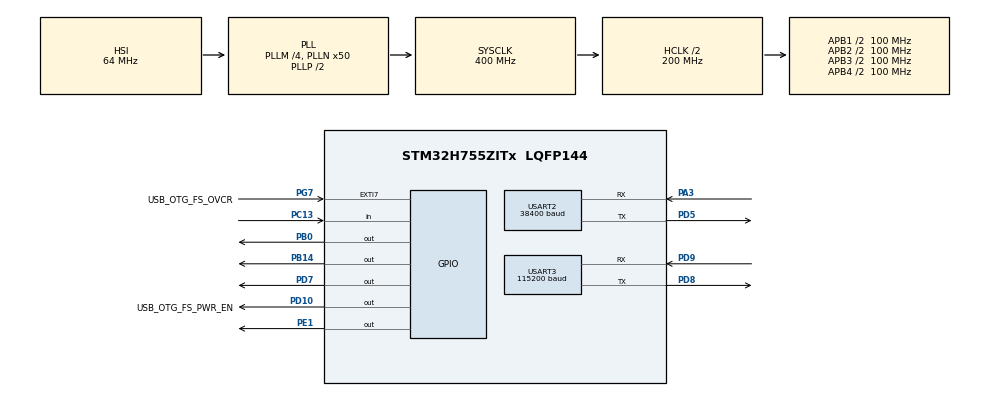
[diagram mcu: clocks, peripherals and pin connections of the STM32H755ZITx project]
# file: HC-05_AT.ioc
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CortexM4.IPs=FATFS_M4\:I,FREERTOS_M4\:I,IWDG2\:I,RCC,WWDG2\:I,DMA,BDMA,MDMA,NVIC2\:I,ETH,USART3,DEBUG,PDM2PCM_M4\:I,PWR,RESMGR_UTILITY,SYS_M4\:I,USB_DEVICE_M4\:I,USB_HOST_M4\:I,CORTEX_M4\:I,GPIO,OPENAMP_M4\:I,VREFBUF,NUCLEO-H755ZI-Q
CortexM7.IPs=FATFS_M7\:I,FREERTOS_M7\:I,IWDG1\:I,RCC\:I,WWDG1\:I,DMA\:I,BDMA\:I,MDMA\:I,NVIC1\:I,ETH\:I,USART3\:I,USB_OTG_FS\:I,SYS\:I,CORTEX_M7\:I,DEBUG\:I,PDM2PCM_M7\:I,PWR\:I,RESMGR_UTILITY\:I,USB_DEVICE_M7\:I,USB_HOST_M7\:I,GPIO\:I,OPENAMP_M7\:I,VREFBUF\:I,NUCLEO-H755ZI-Q\:I,MEMORYMAP\:I,USART2\:I
CortexM7.Pins=PB0,PD7
Mcu.Family=STM32H7
Mcu.Name=STM32H755ZITx
Mcu.Package=LQFP144
NVIC1.PriorityGroup=NVIC_PRIORITYGROUP_4
NVIC1.USART2_IRQn=true\:0\:0\:false\:false\:true\:true\:true\:true
NVIC1.USART3_IRQn=true\:0\:0\:false\:false\:true\:true\:true\:true
NVIC2.PriorityGroup=NVIC_PRIORITYGROUP_4
PA1.PinAttribute=CortexM7
PA1.Signal=ETH_REF_CLK
PA11.PinAttribute=CortexM7
PA11.Signal=USB_OTG_FS_DM
PA12.PinAttribute=CortexM7
PA12.Signal=USB_OTG_FS_DP
PA2.PinAttribute=CortexM7
PA2.Signal=ETH_MDIO
PA3.Mode=Asynchronous
PA3.PinAttribute=CortexM7
PA3.Signal=USART2_RX
PA7.PinAttribute=CortexM7
PA7.Signal=ETH_CRS_DV
PA8.PinAttribute=CortexM7
PA8.Signal=USB_OTG_FS_SOF
PA9.PinAttribute=CortexM7
PA9.Signal=USB_OTG_FS_VBUS
PB0.PinAttribute=CortexM7
PB0.Signal=GPIO_Output
PB13.PinAttribute=CortexM7
PB13.Signal=ETH_TXD1
PB14.PinAttribute=Free
PB14.Signal=GPIO_Output
PC1.PinAttribute=CortexM7
PC1.Signal=ETH_MDC
PC13.PinAttribute=Free
PC13.Signal=GPIO_Input
PC14-OSC32_IN\ (OSC32_IN).Mode=LSE-External-Oscillator
PC14-OSC32_IN\ (OSC32_IN).PinAttribute=Free
PC14-OSC32_IN\ (OSC32_IN).Signal=RCC_OSC32_IN
PC15-OSC32_OUT\ (OSC32_OUT).Mode=LSE-External-Oscillator
PC15-OSC32_OUT\ (OSC32_OUT).PinAttribute=Free
PC15-OSC32_OUT\ (OSC32_OUT).Signal=RCC_OSC32_OUT
PC4.PinAttribute=CortexM7
PC4.Signal=ETH_RXD0
PC5.PinAttribute=CortexM7
PC5.Signal=ETH_RXD1
PD10.GPIO_Label=USB_OTG_FS_PWR_EN
PD10.PinAttribute=Free
PD10.Signal=GPIO_Output
PD5.Mode=Asynchronous
PD5.PinAttribute=CortexM7
PD5.Signal=USART2_TX
PD7.PinAttribute=CortexM7
PD7.PinState=GPIO_PIN_RESET
PD7.Signal=GPIO_Output
PD8.Mode=Asynchronous
PD8.PinAttribute=CortexM7
PD8.Signal=USART3_TX
PD9.Mode=Asynchronous
PD9.PinAttribute=CortexM7
PD9.Signal=USART3_RX
PE1.PinAttribute=Free
PE1.Signal=GPIO_Output
PG11.PinAttribute=CortexM7
PG11.Signal=ETH_TX_EN
PG13.PinAttribute=CortexM7
PG13.Signal=ETH_TXD0
PG7.GPIO_Label=USB_OTG_FS_OVCR
PG7.PinAttribute=Free
PG7.Signal=GPXTI7
PH0-OSC_IN\ (PH0).Mode=HSE-External-Clock-Source
PH0-OSC_IN\ (PH0).PinAttribute=Free
PH0-OSC_IN\ (PH0).Signal=RCC_OSC_IN
PH1-OSC_OUT\ (PH1).PinAttribute=Free
PH1-OSC_OUT\ (PH1).Signal=RCC_OSC_OUT
ProjectManager.HeapSize=M4-0x200,M7-0x200
ProjectManager.StackSize=M4-0x400,M7-0x400
ProjectManager.TargetToolchain=STM32CubeIDE
RCC.ADCFreq_Value=129000000
RCC.APB1Freq_Value=100000000
RCC.APB2Freq_Value=100000000
RCC.APB3Freq_Value=100000000
RCC.APB4Freq_Value=100000000
RCC.CortexFreq_Value=400000000
RCC.D1PPRE=RCC_APB3_DIV2
RCC.D2PPRE1=RCC_APB1_DIV2
RCC.D2PPRE2=RCC_APB2_DIV2
RCC.D3PPRE=RCC_APB4_DIV2
RCC.DIVM1=4
RCC.DIVN1=50
RCC.DIVQ1=5
RCC.HCLKFreq_Value=200000000
RCC.HPRE=RCC_HCLK_DIV2
RCC.PLL2FRACN=0
RCC.PLL3FRACN=0
RCC.PLLFRACN=0
RCC.SYSCLKFreq_VALUE=400000000
RCC.SYSCLKSource=RCC_SYSCLKSOURCE_PLLCLK
RCC.SupplySource=PWR_DIRECT_SMPS_SUPPLY
RCC.USBFreq_Value=160000000
USART2.BaudRate=38400
USART2.VirtualMode-Asynchronous=VM_ASYNC
USART3.BaudRate=115200
USART3.VirtualMode-Asynchronous=VM_ASYNC
VP_MEMORYMAP_VS_MEMORYMAP.Mode=CurAppReg
VP_SYS_M4_VS_Systick.Mode=SysTick
board=NUCLEO-H755ZI-Q

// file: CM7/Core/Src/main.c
/* USER CODE BEGIN Header */
/**
  ******************************************************************************
  * @file           : main.c
  * @brief          : Main program body
  ******************************************************************************
  * @attention
  *
  * Copyright (c) 2025 STMicroelectronics.
  * All rights reserved.
  *
  * This software is licensed under terms that can be found in the LICENSE file
  * in the root directory of this software component.
  * If no LICENSE file comes with this software, it is provided AS-IS.
  *
  ******************************************************************************
  */
/* USER CODE END Header */
#include "main.h"

/* USER CODE BEGIN PD */

/* DUAL_CORE_BOOT_SYNC_SEQUENCE: Define for dual core boot synchronization    */
/*                             demonstration code based on hardware semaphore */
/* This define is present in both CM7/CM4 projects                            */
/* To comment when developping/debugging on a single core                     */
#define DUAL_CORE_BOOT_SYNC_SEQUENCE

#if defined(DUAL_CORE_BOOT_SYNC_SEQUENCE)
#ifndef HSEM_ID_0
#define HSEM_ID_0 (0U) /* HW semaphore 0*/
#endif
#endif /* DUAL_CORE_BOOT_SYNC_SEQUENCE */

/* USER CODE END PD */

UART_HandleTypeDef huart2;
UART_HandleTypeDef huart3;

/* USER CODE BEGIN PV */
uint8_t rx2_byte;
uint8_t rx3_byte;
/* USER CODE END PV */

void SystemClock_Config(void);
static void MX_GPIO_Init(void);
static void MX_USART3_UART_Init(void);
static void MX_USART2_UART_Init(void);

/* USER CODE BEGIN 0 */
void start_uart_interrupts(void) {
    // Start reception for both UARTs
    HAL_UART_Receive_IT(&huart2, &rx2_byte, 1);
    HAL_UART_Receive_IT(&huart3, &rx3_byte, 1);
}

void HAL_UART_RxCpltCallback(UART_HandleTypeDef *huart) {
    if (huart->Instance == USART2) {
        // Data from HC-05 → send to PC
        HAL_UART_Transmit(&huart3, &rx2_byte, 1, HAL_MAX_DELAY);
        HAL_UART_Receive_IT(&huart2, &rx2_byte, 1); // Re-enable reception
    }
    else if (huart->Instance == USART3) {
        // If Enter key received, send \r\n instead
        if (rx3_byte == '\r' || rx3_byte == '\n') {
            char newline[] = "\r\n";
            HAL_UART_Transmit(&huart2, (uint8_t*)newline, strlen(newline), HAL_MAX_DELAY);
        } else {
            // Forward normal characters
            HAL_UART_Transmit(&huart2, &rx3_byte, 1, HAL_MAX_DELAY);
        }
        HAL_UART_Receive_IT(&huart3, &rx3_byte, 1);
    }
}

/* USER CODE END 0 */

int main(void)
{

/* USER CODE BEGIN Boot_Mode_Sequence_0 */
#if defined(DUAL_CORE_BOOT_SYNC_SEQUENCE)
  int32_t timeout;
#endif /* DUAL_CORE_BOOT_SYNC_SEQUENCE */
/* USER CODE END Boot_Mode_Sequence_0 */

/* USER CODE BEGIN Boot_Mode_Sequence_1 */
#if defined(DUAL_CORE_BOOT_SYNC_SEQUENCE)
  /* Wait until CPU2 boots and enters in stop mode or timeout*/
  timeout = 0xFFFF;
  while((__HAL_RCC_GET_FLAG(RCC_FLAG_D2CKRDY) != RESET) && (timeout-- > 0));
  if ( timeout < 0 )
  {
  Error_Handler();
  }
#endif /* DUAL_CORE_BOOT_SYNC_SEQUENCE */
/* USER CODE END Boot_Mode_Sequence_1 */
  /* MCU Configuration--------------------------------------------------------*/

  /* Reset of all peripherals, Initializes the Flash interface and the Systick. */
  HAL_Init();

  /* Configure the system clock */
  SystemClock_Config();
/* USER CODE BEGIN Boot_Mode_Sequence_2 */
#if defined(DUAL_CORE_BOOT_SYNC_SEQUENCE)
/* When system initialization is finished, Cortex-M7 will release Cortex-M4 by means of
HSEM notification */
/*HW semaphore Clock enable*/
__HAL_RCC_HSEM_CLK_ENABLE();
/*Take HSEM */
HAL_HSEM_FastTake(HSEM_ID_0);
/*Release HSEM in order to notify the CPU2(CM4)*/
HAL_HSEM_Release(HSEM_ID_0,0);
/* wait until CPU2 wakes up from stop mode */
timeout = 0xFFFF;
while((__HAL_RCC_GET_FLAG(RCC_FLAG_D2CKRDY) == RESET) && (timeout-- > 0));
if ( timeout < 0 )
{
Error_Handler();
}
#endif /* DUAL_CORE_BOOT_SYNC_SEQUENCE */
/* USER CODE END Boot_Mode_Sequence_2 */

  /* Initialize all configured peripherals */
  MX_GPIO_Init();
  MX_USART3_UART_Init();
  MX_USART2_UART_Init();
  /* USER CODE BEGIN 2 */
//  start_uart2_rx_interrupt();
  start_uart_interrupts(); // Start UART bridge
  HAL_GPIO_WritePin(GPIOD, GPIO_PIN_7, GPIO_PIN_SET); // Pin to key high and set in AT MODE
  HAL_Delay(2000); // wait to initialize

  /* USER CODE END 2 */

  /* Infinite loop */
  while (1)
  {

  }
}

void SystemClock_Config(void)
{
  RCC_OscInitTypeDef RCC_OscInitStruct = {0};
  RCC_ClkInitTypeDef RCC_ClkInitStruct = {0};

  /** Supply configuration update enable
  */
  HAL_PWREx_ConfigSupply(PWR_DIRECT_SMPS_SUPPLY);

  /** Configure the main internal regulator output voltage
  */
  __HAL_PWR_VOLTAGESCALING_CONFIG(PWR_REGULATOR_VOLTAGE_SCALE1);

  while(!__HAL_PWR_GET_FLAG(PWR_FLAG_VOSRDY)) {}

  /** Initializes the RCC Oscillators according to the specified parameters
  * in the RCC_OscInitTypeDef structure.
  */
  RCC_OscInitStruct.OscillatorType = RCC_OSCILLATORTYPE_HSI;
  RCC_OscInitStruct.HSIState = RCC_HSI_DIV1;
  RCC_OscInitStruct.HSICalibrationValue = RCC_HSICALIBRATION_DEFAULT;
  RCC_OscInitStruct.PLL.PLLState = RCC_PLL_ON;
  RCC_OscInitStruct.PLL.PLLSource = RCC_PLLSOURCE_HSI;
  RCC_OscInitStruct.PLL.PLLM = 4;
  RCC_OscInitStruct.PLL.PLLN = 50;
  RCC_OscInitStruct.PLL.PLLP = 2;
  RCC_OscInitStruct.PLL.PLLQ = 5;
  RCC_OscInitStruct.PLL.PLLR = 2;
  RCC_OscInitStruct.PLL.PLLRGE = RCC_PLL1VCIRANGE_3;
  RCC_OscInitStruct.PLL.PLLVCOSEL = RCC_PLL1VCOWIDE;
  RCC_OscInitStruct.PLL.PLLFRACN = 0;
  if (HAL_RCC_OscConfig(&RCC_OscInitStruct) != HAL_OK)
  {
    Error_Handler();
  }

  /** Initializes the CPU, AHB and APB buses clocks
  */
  RCC_ClkInitStruct.ClockType = RCC_CLOCKTYPE_HCLK|RCC_CLOCKTYPE_SYSCLK
                              |RCC_CLOCKTYPE_PCLK1|RCC_CLOCKTYPE_PCLK2
                              |RCC_CLOCKTYPE_D3PCLK1|RCC_CLOCKTYPE_D1PCLK1;
  RCC_ClkInitStruct.SYSCLKSource = RCC_SYSCLKSOURCE_PLLCLK;
  RCC_ClkInitStruct.SYSCLKDivider = RCC_SYSCLK_DIV1;
  RCC_ClkInitStruct.AHBCLKDivider = RCC_HCLK_DIV2;
  RCC_ClkInitStruct.APB3CLKDivider = RCC_APB3_DIV2;
  RCC_ClkInitStruct.APB1CLKDivider = RCC_APB1_DIV2;
  RCC_ClkInitStruct.APB2CLKDivider = RCC_APB2_DIV2;
  RCC_ClkInitStruct.APB4CLKDivider = RCC_APB4_DIV2;

  if (HAL_RCC_ClockConfig(&RCC_ClkInitStruct, FLASH_LATENCY_2) != HAL_OK)
  {
    Error_Handler();
  }
}

static void MX_USART2_UART_Init(void)
{

  huart2.Instance = USART2;
  huart2.Init.BaudRate = 38400;
  huart2.Init.WordLength = UART_WORDLENGTH_8B;
  huart2.Init.StopBits = UART_STOPBITS_1;
  huart2.Init.Parity = UART_PARITY_NONE;
  huart2.Init.Mode = UART_MODE_TX_RX;
  huart2.Init.HwFlowCtl = UART_HWCONTROL_NONE;
  huart2.Init.OverSampling = UART_OVERSAMPLING_16;
  huart2.Init.OneBitSampling = UART_ONE_BIT_SAMPLE_DISABLE;
  huart2.Init.ClockPrescaler = UART_PRESCALER_DIV1;
  huart2.AdvancedInit.AdvFeatureInit = UART_ADVFEATURE_NO_INIT;
  if (HAL_UART_Init(&huart2) != HAL_OK)
  {
    Error_Handler();
  }
  if (HAL_UARTEx_SetTxFifoThreshold(&huart2, UART_TXFIFO_THRESHOLD_1_8) != HAL_OK)
  {
    Error_Handler();
  }
  if (HAL_UARTEx_SetRxFifoThreshold(&huart2, UART_RXFIFO_THRESHOLD_1_8) != HAL_OK)
  {
    Error_Handler();
  }
  if (HAL_UARTEx_DisableFifoMode(&huart2) != HAL_OK)
  {
    Error_Handler();
  }

}

static void MX_USART3_UART_Init(void)
{

  huart3.Instance = USART3;
  huart3.Init.BaudRate = 115200;
  huart3.Init.WordLength = UART_WORDLENGTH_8B;
  huart3.Init.StopBits = UART_STOPBITS_1;
  huart3.Init.Parity = UART_PARITY_NONE;
  huart3.Init.Mode = UART_MODE_TX_RX;
  huart3.Init.HwFlowCtl = UART_HWCONTROL_NONE;
  huart3.Init.OverSampling = UART_OVERSAMPLING_16;
  huart3.Init.OneBitSampling = UART_ONE_BIT_SAMPLE_DISABLE;
  huart3.Init.ClockPrescaler = UART_PRESCALER_DIV1;
  huart3.AdvancedInit.AdvFeatureInit = UART_ADVFEATURE_NO_INIT;
  if (HAL_UART_Init(&huart3) != HAL_OK)
  {
    Error_Handler();
  }
  if (HAL_UARTEx_SetTxFifoThreshold(&huart3, UART_TXFIFO_THRESHOLD_1_8) != HAL_OK)
  {
    Error_Handler();
  }
  if (HAL_UARTEx_SetRxFifoThreshold(&huart3, UART_RXFIFO_THRESHOLD_1_8) != HAL_OK)
  {
    Error_Handler();
  }
  if (HAL_UARTEx_DisableFifoMode(&huart3) != HAL_OK)
  {
    Error_Handler();
  }

}

static void MX_GPIO_Init(void)
{
  GPIO_InitTypeDef GPIO_InitStruct = {0};

  /* GPIO Ports Clock Enable */
  __HAL_RCC_GPIOC_CLK_ENABLE();
  __HAL_RCC_GPIOA_CLK_ENABLE();
  __HAL_RCC_GPIOB_CLK_ENABLE();
  __HAL_RCC_GPIOD_CLK_ENABLE();
  __HAL_RCC_GPIOG_CLK_ENABLE();

  /*Configure GPIO pin Output Level */
  HAL_GPIO_WritePin(GPIOB, GPIO_PIN_0, GPIO_PIN_RESET);

  /*Configure GPIO pin Output Level */
  HAL_GPIO_WritePin(GPIOD, GPIO_PIN_7, GPIO_PIN_RESET);

  /*Configure GPIO pins : PC1 PC4 PC5 */
  GPIO_InitStruct.Pin = GPIO_PIN_1|GPIO_PIN_4|GPIO_PIN_5;
  GPIO_InitStruct.Mode = GPIO_MODE_AF_PP;
  GPIO_InitStruct.Pull = GPIO_NOPULL;
  GPIO_InitStruct.Speed = GPIO_SPEED_FREQ_LOW;
  GPIO_InitStruct.Alternate = GPIO_AF11_ETH;
  HAL_GPIO_Init(GPIOC, &GPIO_InitStruct);

  /*Configure GPIO pins : PA1 PA2 PA7 */
  GPIO_InitStruct.Pin = GPIO_PIN_1|GPIO_PIN_2|GPIO_PIN_7;
  GPIO_InitStruct.Mode = GPIO_MODE_AF_PP;
  GPIO_InitStruct.Pull = GPIO_NOPULL;
  GPIO_InitStruct.Speed = GPIO_SPEED_FREQ_LOW;
  GPIO_InitStruct.Alternate = GPIO_AF11_ETH;
  HAL_GPIO_Init(GPIOA, &GPIO_InitStruct);

  /*Configure GPIO pin : PB0 */
  GPIO_InitStruct.Pin = GPIO_PIN_0;
  GPIO_InitStruct.Mode = GPIO_MODE_OUTPUT_PP;
  GPIO_InitStruct.Pull = GPIO_NOPULL;
  GPIO_InitStruct.Speed = GPIO_SPEED_FREQ_LOW;
  HAL_GPIO_Init(GPIOB, &GPIO_InitStruct);

  /*Configure GPIO pin : PB13 */
  GPIO_InitStruct.Pin = GPIO_PIN_13;
  GPIO_InitStruct.Mode = GPIO_MODE_AF_PP;
  GPIO_InitStruct.Pull = GPIO_NOPULL;
  GPIO_InitStruct.Speed = GPIO_SPEED_FREQ_LOW;
  GPIO_InitStruct.Alternate = GPIO_AF11_ETH;
  HAL_GPIO_Init(GPIOB, &GPIO_InitStruct);

  /*Configure GPIO pins : PA8 PA11 PA12 */
  GPIO_InitStruct.Pin = GPIO_PIN_8|GPIO_PIN_11|GPIO_PIN_12;
  GPIO_InitStruct.Mode = GPIO_MODE_AF_PP;
  GPIO_InitStruct.Pull = GPIO_NOPULL;
  GPIO_InitStruct.Speed = GPIO_SPEED_FREQ_LOW;
  GPIO_InitStruct.Alternate = GPIO_AF10_OTG1_FS;
  HAL_GPIO_Init(GPIOA, &GPIO_InitStruct);

  /*Configure GPIO pin : PD7 */
  GPIO_InitStruct.Pin = GPIO_PIN_7;
  GPIO_InitStruct.Mode = GPIO_MODE_OUTPUT_PP;
  GPIO_InitStruct.Pull = GPIO_NOPULL;
  GPIO_InitStruct.Speed = GPIO_SPEED_FREQ_LOW;
  HAL_GPIO_Init(GPIOD, &GPIO_InitStruct);

  /*Configure GPIO pins : PG11 PG13 */
  GPIO_InitStruct.Pin = GPIO_PIN_11|GPIO_PIN_13;
  GPIO_InitStruct.Mode = GPIO_MODE_AF_PP;
  GPIO_InitStruct.Pull = GPIO_NOPULL;
  GPIO_InitStruct.Speed = GPIO_SPEED_FREQ_LOW;
  GPIO_InitStruct.Alternate = GPIO_AF11_ETH;
  HAL_GPIO_Init(GPIOG, &GPIO_InitStruct);

}

void Error_Handler(void)
{
  __disable_irq();
  while (1)
  {
  }
}
